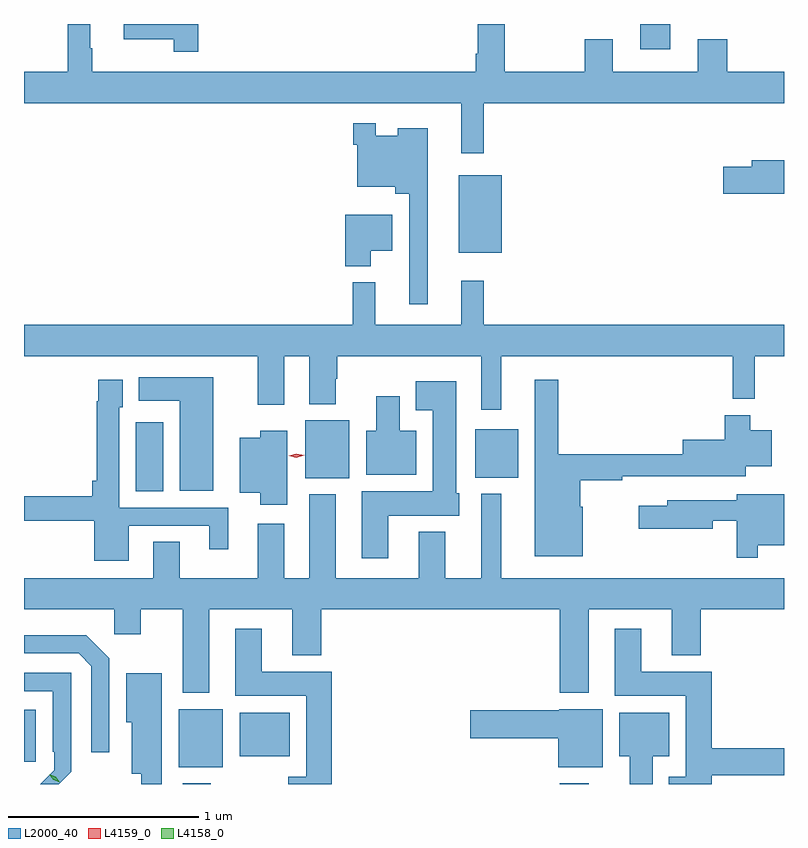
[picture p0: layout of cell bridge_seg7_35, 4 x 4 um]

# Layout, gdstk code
import gdstk
lib = gdstk.Library(unit=1e-6, precision=1e-09)
def R(c, l, rs):  # rectangles x0, y0, x1, y1
    for r in rs: c.add(gdstk.rectangle(r[:2], r[2:], *l))
def P(c, l, *ps):  # polygons
    for p in ps: c.add(gdstk.Polygon(p, *l))
L2000_40 = (2000, 40)
L4158_0 = (4158, 0)
L4159_0 = (4159, 0)

bridge_seg7_35 = lib.new_cell('bridge_seg7_35')
R(bridge_seg7_35, L2000_40, [(970.571,1067.628,970.719,1067.632), (972.557,1067.628,972.709,1067.632), (970.55,1067.717,970.783,1068.022), (969.736,1067.745,969.799,1068.019), (970.871,1067.774,971.134,1068.004), (970.325,1069.168,970.468,1069.531), (971.216,1069.238,971.449,1069.543), (972.11,1069.241,972.337,1069.495), (972.023,1070.423,972.25,1070.833), (972.98,1071.494,973.138,1071.628)])
P(bridge_seg7_35, L2000_40, [(972.155,1071.212),(973.736,1071.212),(973.736,1071.376),(973.436,1071.376),(973.436,1071.548),(973.283,1071.548),(973.283,1071.376),(972.835,1071.376),(972.835,1071.548),(972.688,1071.548),(972.688,1071.376),(972.265,1071.376),(972.265,1071.628),(972.125,1071.628),(972.125,1071.472),(972.113,1071.472),(972.113,1071.376),(970.096,1071.376),(970.096,1071.5),(970.084,1071.5),(970.084,1071.628),(969.967,1071.628),(969.967,1071.376),(969.736,1071.376),(969.736,1071.212),(972.038,1071.212),(972.038,1070.949),(972.155,1070.949)],
  [(970.652,1071.628),(970.262,1071.628),(970.262,1071.548),(970.524,1071.548),(970.524,1071.483),(970.652,1071.483)],
  [(971.86,1071.079),(971.702,1071.079),(971.702,1071.04),(971.586,1071.04),(971.586,1071.106),(971.47,1071.106),(971.47,1070.993),(971.49,1070.993),(971.49,1070.771),(971.69,1070.771),(971.69,1070.735),(971.763,1070.735),(971.763,1070.154),(971.86,1070.154)],
  [(973.736,1070.911),(973.565,1070.911),(973.565,1070.877),(973.416,1070.877),(973.416,1070.735),(973.736,1070.735)],
  [(971.56,1070.435),(971.674,1070.435),(971.674,1070.623),(971.426,1070.623),(971.426,1070.354),(971.56,1070.354)],
  [(972.038,1070.278),(972.038,1070.044),(971.585,1070.044),(971.585,1070.269),(971.467,1070.269),(971.467,1070.044),(969.736,1070.044),(969.736,1069.88),(970.967,1069.88),(970.967,1069.623),(971.107,1069.623),(971.107,1069.88),(971.237,1069.88),(971.237,1069.628),(971.377,1069.628),(971.377,1069.76),(971.385,1069.76),(971.385,1069.88),(972.143,1069.88),(972.143,1069.599),(972.247,1069.599),(972.247,1069.88),(973.465,1069.88),(973.465,1069.655),(973.583,1069.655),(973.583,1069.88),(973.736,1069.88),(973.736,1070.044),(972.155,1070.044),(972.155,1070.278)],
  [(970.732,1069.768),(970.34,1069.768),(970.34,1069.646),(970.556,1069.646),(970.556,1069.172),(970.732,1069.172)],
  [(972.676,1069.086),(972.664,1069.086),(972.664,1069.228),(972.884,1069.228),(972.884,1069.248),(973.306,1069.248),(973.306,1069.247),(973.534,1069.247),(973.534,1069.301),(973.672,1069.301),(973.672,1069.489),(973.558,1069.489),(973.558,1069.57),(973.424,1069.57),(973.424,1069.441),(973.202,1069.441),(973.202,1069.364),(972.547,1069.364),(972.547,1069.756),(972.425,1069.756),(972.425,1068.827),(972.676,1068.827)],
  [(970.288,1068.987),(970.712,1068.987),(970.712,1068.864),(970.81,1068.864),(970.81,1069.083),(970.236,1069.083),(970.236,1069.611),(970.255,1069.611),(970.255,1069.756),(970.128,1069.756),(970.128,1069.643),(970.12,1069.643),(970.12,1069.225),(970.094,1069.225),(970.094,1069.142),(969.736,1069.142),(969.736,1069.014),(970.106,1069.014),(970.106,1068.803),(970.288,1068.803)],
  [(971.653,1069.04),(972.028,1069.04),(972.028,1069.158),(972.01,1069.158),(972.01,1069.747),(971.798,1069.747),(971.798,1069.595),(971.888,1069.595),(971.888,1069.168),(971.513,1069.168),(971.513,1068.816),(971.653,1068.816)],
  [(971.8,1069.486),(971.713,1069.486),(971.713,1069.669),(971.591,1069.669),(971.591,1069.486),(971.537,1069.486),(971.537,1069.256),(971.8,1069.256)],
  [(971.122,1069.486),(970.979,1069.486),(970.979,1069.45),(970.871,1069.45),(970.871,1069.16),(970.979,1069.16),(970.979,1069.098),(971.122,1069.098)],
  [(970.711,1068.548),(971.147,1068.548),(971.147,1068.305),(971.3,1068.305),(971.3,1068.548),(972.557,1068.548),(972.557,1068.107),(972.709,1068.107),(972.709,1068.548),(973.145,1068.548),(973.145,1068.305),(973.298,1068.305),(973.298,1068.548),(973.736,1068.548),(973.736,1068.712),(972.247,1068.712),(972.247,1069.156),(972.143,1069.156),(972.143,1068.712),(971.953,1068.712),(971.953,1068.955),(971.813,1068.955),(971.813,1068.712),(971.377,1068.712),(971.377,1069.153),(971.237,1069.153),(971.237,1068.712),(971.107,1068.712),(971.107,1068.997),(970.967,1068.997),(970.967,1068.712),(970.555,1068.712),(970.555,1068.902),(970.415,1068.902),(970.415,1068.712),(969.736,1068.712),(969.736,1068.548),(970.212,1068.548),(970.212,1068.417),(970.351,1068.417),(970.351,1068.548),(970.571,1068.548),(970.571,1068.107),(970.711,1068.107)],
  [(973.597,1068.884),(973.736,1068.884),(973.736,1069.153),(973.487,1069.153),(973.487,1069.122),(973.121,1069.122),(973.121,1069.093),(972.972,1069.093),(972.972,1068.971),(973.36,1068.971),(973.36,1069.014),(973.488,1069.014),(973.488,1068.819),(973.597,1068.819)],
  [(971.357,1068.22),(970.987,1068.22),(970.987,1068.445),(970.847,1068.445),(970.847,1068.092),(971.222,1068.092),(971.222,1067.665),(971.127,1067.665),(971.127,1067.628),(971.357,1067.628)],
  [(973.355,1067.674),(973.736,1067.674),(973.736,1067.816),(973.355,1067.816),(973.355,1068.22),(972.985,1068.22),(972.985,1068.445),(972.845,1068.445),(972.845,1068.092),(973.22,1068.092),(973.22,1067.665),(973.13,1067.665),(973.13,1067.628),(973.355,1067.628)],
  [(970.185,1068.291),(970.064,1068.412),(969.736,1068.412),(969.736,1068.315),(970.023,1068.315),(970.089,1068.249),(970.089,1067.796),(970.185,1067.796)],
  [(969.984,1067.692),(969.984,1068.213),(969.736,1068.213),(969.736,1068.117),(969.888,1068.117),(969.888,1067.797),(969.894,1067.797),(969.894,1067.7),(969.822,1067.628),(969.92,1067.628)],
  [(970.461,1067.821),(970.462,1067.821),(970.462,1068.211),(970.274,1068.211),(970.274,1067.954),(970.304,1067.954),(970.304,1067.681),(970.353,1067.681),(970.353,1067.628),(970.461,1067.628)],
  [(972.781,1068.022),(972.552,1068.022),(972.552,1068.017),(972.084,1068.017),(972.084,1067.87),(972.548,1067.87),(972.548,1067.717),(972.781,1067.717)],
  [(973.045,1067.774),(973.132,1067.774),(973.132,1068.004),(972.869,1068.004),(972.869,1067.774),(972.923,1067.774),(972.923,1067.628),(973.045,1067.628)])
P(bridge_seg7_35, L4158_0, [(969.924,1067.636),(969.89,1067.65),(969.868,1067.68),(969.868,1067.68),(969.868,1067.68),(969.902,1067.666),(969.925,1067.636),(969.925,1067.636)])
P(bridge_seg7_35, L4159_0, [(971.17,1069.346),(971.129,1069.355),(971.129,1069.355),(971.129,1069.355),(971.169,1069.366),(971.21,1069.357),(971.21,1069.357),(971.21,1069.357)])

lib.write_gds('bridge_seg7_35.gds')
